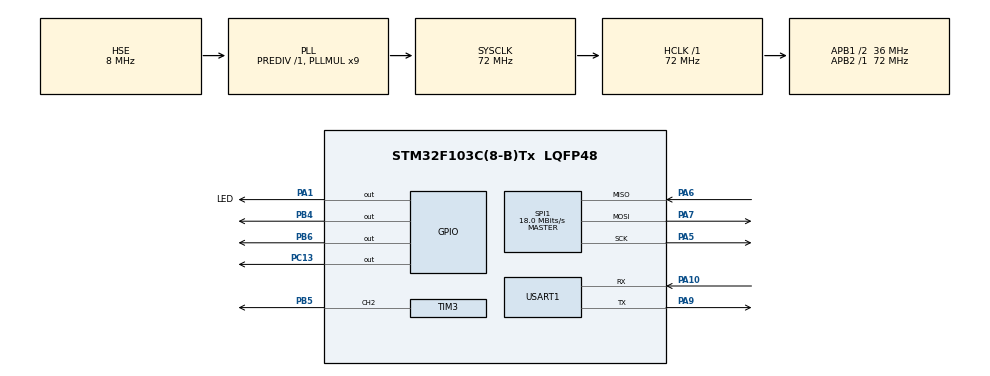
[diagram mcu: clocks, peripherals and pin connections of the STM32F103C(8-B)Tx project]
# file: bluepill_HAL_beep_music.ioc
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<<<<<<< HEAD:project_01.ioc
Dma.Request0=USART1_RX
Dma.Request1=USART1_TX
Dma.USART1_RX.0.Direction=DMA_PERIPH_TO_MEMORY
Dma.USART1_RX.0.Instance=DMA1_Channel5
Dma.USART1_RX.0.MemDataAlignment=DMA_MDATAALIGN_BYTE
Dma.USART1_RX.0.MemInc=DMA_MINC_ENABLE
Dma.USART1_RX.0.Mode=DMA_CIRCULAR
Dma.USART1_RX.0.PeriphDataAlignment=DMA_PDATAALIGN_BYTE
Dma.USART1_RX.0.PeriphInc=DMA_PINC_DISABLE
Dma.USART1_RX.0.Priority=DMA_PRIORITY_MEDIUM
Dma.USART1_TX.1.Direction=DMA_MEMORY_TO_PERIPH
Dma.USART1_TX.1.Instance=DMA1_Channel4
Dma.USART1_TX.1.MemDataAlignment=DMA_MDATAALIGN_BYTE
Dma.USART1_TX.1.MemInc=DMA_MINC_ENABLE
Dma.USART1_TX.1.Mode=DMA_NORMAL
Dma.USART1_TX.1.PeriphDataAlignment=DMA_PDATAALIGN_BYTE
Dma.USART1_TX.1.PeriphInc=DMA_PINC_DISABLE
Dma.USART1_TX.1.Priority=DMA_PRIORITY_MEDIUM
Mcu.Family=STM32F1
Mcu.Name=STM32F103C(8-B)Tx
Mcu.Package=LQFP48
NVIC.DMA1_Channel4_IRQn=true\:1\:0\:true\:false\:true\:false\:true\:true
NVIC.DMA1_Channel5_IRQn=true\:1\:0\:true\:false\:true\:false\:true\:true
NVIC.PriorityGroup=NVIC_PRIORITYGROUP_4
NVIC.TIM2_IRQn=true\:0\:0\:true\:false\:true\:true\:true\:true
NVIC.TIM3_IRQn=true\:0\:0\:false\:false\:true\:true\:true\:true
NVIC.USART1_IRQn=true\:1\:0\:true\:false\:true\:true\:true\:true
PA1.GPIO_Label=LED
PA1.GPIO_ModeDefaultOutputPP=GPIO_MODE_OUTPUT_PP
PA1.Signal=GPIO_Output
PA10.Mode=Asynchronous
PA10.Signal=USART1_RX
PA13.Mode=Serial_Wire
PA13.Signal=SYS_JTMS-SWDIO
PA14.Mode=Serial_Wire
PA14.Signal=SYS_JTCK-SWCLK
PA5.Mode=Full_Duplex_Master
PA5.Signal=SPI1_SCK
PA6.Mode=Full_Duplex_Master
PA6.Signal=SPI1_MISO
PA7.Mode=Full_Duplex_Master
PA7.Signal=SPI1_MOSI
PA9.Mode=Asynchronous
PA9.Signal=USART1_TX
PB4.GPIO_ModeDefaultOutputPP=GPIO_MODE_OUTPUT_OD
PB4.GPIO_Speed=GPIO_SPEED_FREQ_HIGH
PB4.Signal=GPIO_Output
PB5.GPIO_Speed=GPIO_SPEED_FREQ_HIGH
PB5.Signal=S_TIM3_CH2
PB6.GPIO_ModeDefaultOutputPP=GPIO_MODE_OUTPUT_OD
PB6.GPIO_Speed=GPIO_SPEED_FREQ_HIGH
PB6.Signal=GPIO_Output
PC13-TAMPER-RTC.Signal=GPIO_Output
PC14-OSC32_IN.Mode=LSE-External-Oscillator
PC14-OSC32_IN.Signal=RCC_OSC32_IN
PC15-OSC32_OUT.Mode=LSE-External-Oscillator
PC15-OSC32_OUT.Signal=RCC_OSC32_OUT
PD0-OSC_IN.Mode=HSE-External-Oscillator
PD0-OSC_IN.Signal=RCC_OSC_IN
PD1-OSC_OUT.Mode=HSE-External-Oscillator
PD1-OSC_OUT.Signal=RCC_OSC_OUT
ProjectManager.HeapSize=0x200
ProjectManager.StackSize=0x400
ProjectManager.TargetToolchain=STM32CubeIDE
RCC.AHBFreq_Value=72000000
RCC.APB1CLKDivider=RCC_HCLK_DIV2
RCC.APB1Freq_Value=36000000
RCC.APB1TimFreq_Value=72000000
RCC.APB2Freq_Value=72000000
RCC.APB2TimFreq_Value=72000000
RCC.HCLKFreq_Value=72000000
RCC.PLLMUL=RCC_PLL_MUL9
RCC.PLLSourceVirtual=RCC_PLLSOURCE_HSE
RCC.SYSCLKFreq_VALUE=72000000
RCC.SYSCLKSource=RCC_SYSCLKSOURCE_PLLCLK
RCC.USBFreq_Value=72000000
SH.S_TIM3_CH2.0=TIM3_CH2,PWM Generation2 CH2
SPI1.BaudRatePrescaler=SPI_BAUDRATEPRESCALER_4
SPI1.CalculateBaudRate=18.0 MBits/s
SPI1.Direction=SPI_DIRECTION_2LINES
SPI1.Mode=SPI_MODE_MASTER
SPI1.VirtualType=VM_MASTER
TIM2.Period=10-1
TIM2.Prescaler=7200-1
TIM3.AutoReloadPreload=TIM_AUTORELOAD_PRELOAD_ENABLE
TIM3.Channel-PWM\ Generation2\ CH2=TIM_CHANNEL_2
TIM3.OCPolarity_2=TIM_OCPOLARITY_LOW
TIM3.Period=1000-1
TIM3.Prescaler=72-1
USART1.VirtualMode=VM_ASYNC
VP_TIM2_VS_ClockSourceINT.Mode=Internal
VP_TIM3_VS_ClockSourceINT.Mode=Internal
board=custom
=======
Dma.Request0=USART1_RX
Dma.Request1=USART1_TX
Dma.USART1_RX.0.Direction=DMA_PERIPH_TO_MEMORY
Dma.USART1_RX.0.Instance=DMA1_Channel5
Dma.USART1_RX.0.MemDataAlignment=DMA_MDATAALIGN_BYTE
Dma.USART1_RX.0.MemInc=DMA_MINC_ENABLE
Dma.USART1_RX.0.Mode=DMA_CIRCULAR
Dma.USART1_RX.0.PeriphDataAlignment=DMA_PDATAALIGN_BYTE
Dma.USART1_RX.0.PeriphInc=DMA_PINC_DISABLE
Dma.USART1_RX.0.Priority=DMA_PRIORITY_MEDIUM
Dma.USART1_TX.1.Direction=DMA_MEMORY_TO_PERIPH
Dma.USART1_TX.1.Instance=DMA1_Channel4
Dma.USART1_TX.1.MemDataAlignment=DMA_MDATAALIGN_BYTE
Dma.USART1_TX.1.MemInc=DMA_MINC_ENABLE
Dma.USART1_TX.1.Mode=DMA_NORMAL
Dma.USART1_TX.1.PeriphDataAlignment=DMA_PDATAALIGN_BYTE
Dma.USART1_TX.1.PeriphInc=DMA_PINC_DISABLE
Dma.USART1_TX.1.Priority=DMA_PRIORITY_MEDIUM
Mcu.Family=STM32F1
Mcu.Name=STM32F103C(8-B)Tx
Mcu.Package=LQFP48
NVIC.DMA1_Channel4_IRQn=true\:1\:0\:true\:false\:true\:false\:true
NVIC.DMA1_Channel5_IRQn=true\:1\:0\:true\:false\:true\:false\:true
NVIC.PriorityGroup=NVIC_PRIORITYGROUP_4
NVIC.TIM2_IRQn=true\:0\:0\:true\:false\:true\:true\:true
NVIC.TIM3_IRQn=true\:0\:0\:false\:false\:true\:true\:true
NVIC.USART1_IRQn=true\:1\:0\:true\:false\:true\:true\:true
PA1.GPIO_Label=LED
PA1.GPIO_ModeDefaultOutputPP=GPIO_MODE_OUTPUT_PP
PA1.Signal=GPIO_Output
PA10.Mode=Asynchronous
PA10.Signal=USART1_RX
PA13.Mode=Serial_Wire
PA13.Signal=SYS_JTMS-SWDIO
PA14.Mode=Serial_Wire
PA14.Signal=SYS_JTCK-SWCLK
PA5.Mode=Full_Duplex_Master
PA5.Signal=SPI1_SCK
PA6.Mode=Full_Duplex_Master
PA6.Signal=SPI1_MISO
PA7.Mode=Full_Duplex_Master
PA7.Signal=SPI1_MOSI
PA9.Mode=Asynchronous
PA9.Signal=USART1_TX
PB4.GPIO_ModeDefaultOutputPP=GPIO_MODE_OUTPUT_OD
PB4.GPIO_Speed=GPIO_SPEED_FREQ_HIGH
PB4.Signal=GPIO_Output
PB5.GPIO_Speed=GPIO_SPEED_FREQ_HIGH
PB5.Signal=S_TIM3_CH2
PB6.GPIO_ModeDefaultOutputPP=GPIO_MODE_OUTPUT_OD
PB6.GPIO_Speed=GPIO_SPEED_FREQ_HIGH
PB6.Signal=GPIO_Output
PC13-TAMPER-RTC.Signal=GPIO_Output
PC14-OSC32_IN.Mode=LSE-External-Oscillator
PC14-OSC32_IN.Signal=RCC_OSC32_IN
PC15-OSC32_OUT.Mode=LSE-External-Oscillator
PC15-OSC32_OUT.Signal=RCC_OSC32_OUT
PD0-OSC_IN.Mode=HSE-External-Oscillator
PD0-OSC_IN.Signal=RCC_OSC_IN
PD1-OSC_OUT.Mode=HSE-External-Oscillator
PD1-OSC_OUT.Signal=RCC_OSC_OUT
ProjectManager.HeapSize=0x200
ProjectManager.StackSize=0x400
ProjectManager.TargetToolchain=STM32CubeIDE
RCC.AHBFreq_Value=72000000
RCC.APB1CLKDivider=RCC_HCLK_DIV2
RCC.APB1Freq_Value=36000000
RCC.APB1TimFreq_Value=72000000
RCC.APB2Freq_Value=72000000
RCC.APB2TimFreq_Value=72000000
RCC.HCLKFreq_Value=72000000
RCC.PLLMUL=RCC_PLL_MUL9
RCC.PLLSourceVirtual=RCC_PLLSOURCE_HSE
RCC.SYSCLKFreq_VALUE=72000000
RCC.SYSCLKSource=RCC_SYSCLKSOURCE_PLLCLK
RCC.USBFreq_Value=72000000
SH.S_TIM3_CH2.0=TIM3_CH2,PWM Generation2 CH2
SPI1.BaudRatePrescaler=SPI_BAUDRATEPRESCALER_4
SPI1.CalculateBaudRate=18.0 MBits/s
SPI1.Direction=SPI_DIRECTION_2LINES
SPI1.Mode=SPI_MODE_MASTER
SPI1.VirtualType=VM_MASTER
TIM2.Period=10-1
TIM2.Prescaler=7200-1
TIM3.AutoReloadPreload=TIM_AUTORELOAD_PRELOAD_ENABLE
TIM3.Channel-PWM\ Generation2\ CH2=TIM_CHANNEL_2
TIM3.OCPolarity_2=TIM_OCPOLARITY_LOW
TIM3.Period=1000-1
TIM3.Prescaler=72-1
USART1.VirtualMode=VM_ASYNC
VP_TIM2_VS_ClockSourceINT.Mode=Internal
VP_TIM3_VS_ClockSourceINT.Mode=Internal
board=custom
>>>>>>> f77d6fc94e3148da85bf1c7deab28f33d9c8edf0:bluepill_HAL_beep_music.ioc

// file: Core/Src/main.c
/* USER CODE BEGIN Header */
/**
  ******************************************************************************
  * @file           : main.c
  * @brief          : Main program body
  ******************************************************************************
  * @attention
  *
  * <h2><center>&copy; Copyright (c) 2021 STMicroelectronics.
  * All rights reserved.</center></h2>
  *
  * This software component is licensed by ST under BSD 3-Clause license,
  * the "License"; You may not use this file except in compliance with the
  * License. You may obtain a copy of the License at:
  *                        opensource.org/licenses/BSD-3-Clause
  *
  ******************************************************************************
  */
/* USER CODE END Header */
#include "main.h"
#include "dma.h"
#include "spi.h"
#include "tim.h"
#include "usart.h"
#include "gpio.h"

/* USER CODE BEGIN Includes */
#include "main1ms.h"
#include "main10ms.h"
#include "w25q16.h"

/* USER CODE END Includes */

void SystemClock_Config(void);

/* USER CODE BEGIN 0 */
#define BUFFERSIZE 255//可以接收的最大字符个�???????????????????????????
uint8_t ReceiveBuff[BUFFERSIZE]; //接收缓冲�???????????????????????????
uint8_t Rx_len;//接收完成中断标志，接收到字符长度
extern DMA_HandleTypeDef hdma_usart1_rx;
uint8_t Str1[BUFFERSIZE]={48,53};
uint16_t pulse = 500;

void HAL_UART_TxCpltCallback(UART_HandleTypeDef *huart)
{
	if(huart==&huart1)//判断是否是串�???????????????????????????1中断
        HAL_GPIO_TogglePin(LED_GPIO_Port, LED_Pin);
}

/* USER CODE END 0 */

int main(void)
{

  /* MCU Configuration--------------------------------------------------------*/

  /* Reset of all peripherals, Initializes the Flash interface and the Systick. */
  HAL_Init();

  /* Configure the system clock */
  SystemClock_Config();

  /* Initialize all configured peripherals */
  MX_GPIO_Init();
  MX_DMA_Init();
  MX_USART1_UART_Init();
  MX_TIM2_Init();
  MX_SPI1_Init();
  MX_TIM3_Init();
  /* USER CODE BEGIN 2 */
  HAL_TIM_Base_Start_IT(&htim2);

//  HAL_UART_Receive_IT(&huart1, (uint8_t*)recv_buf, 13);//发出提示信息
//  HAL_UART_Transmit_IT(&huart1, (uint8_t*)hello, sizeof(hello));

//	注意：上方的MX_DMA_Init();和MX_USART1_UART_Init();这两个函数在自动生成代码要要手动调换顺序
	__HAL_UART_ENABLE_IT(&huart1, UART_IT_IDLE);//使能串口1 IDLE中断
	/*第二个参数目前为数组 如果为变量需要加取地*/
	HAL_UART_Receive_DMA(&huart1,ReceiveBuff,BUFFERSIZE);//使能接收
	HAL_TIM_PWM_Start(&htim3,TIM_CHANNEL_2);
//	  HAL_Delay_us_init(72);
//	  HAL_RCC_GetHCLKFreq()/1000000;		// 1us中断一次，即HAL_Delay函数延时基准为1us
	HAL_SYSTICK_Config(HAL_RCC_GetHCLKFreq()/1000);  // 配置并启动系统滴答定时器

  /* USER CODE END 2 */

  /* Infinite loop */
  while (1)
  {

    /* USER CODE BEGIN 3 */
//	    HAL_Delay(1000);
//	    HAL_GPIO_TogglePin(GPIOA, GPIO_PIN_1);

//		HAL_UART_Transmit_DMA(&huart1,Str1,4);
		main10ms();
		main1ms();
  }
  /* USER CODE END 3 */
}

void SystemClock_Config(void)
{
  RCC_OscInitTypeDef RCC_OscInitStruct = {0};
  RCC_ClkInitTypeDef RCC_ClkInitStruct = {0};

  /** Initializes the RCC Oscillators according to the specified parameters
  * in the RCC_OscInitTypeDef structure.
  */
  RCC_OscInitStruct.OscillatorType = RCC_OSCILLATORTYPE_HSE;
  RCC_OscInitStruct.HSEState = RCC_HSE_ON;
  RCC_OscInitStruct.HSEPredivValue = RCC_HSE_PREDIV_DIV1;
  RCC_OscInitStruct.HSIState = RCC_HSI_ON;
  RCC_OscInitStruct.PLL.PLLState = RCC_PLL_ON;
  RCC_OscInitStruct.PLL.PLLSource = RCC_PLLSOURCE_HSE;
  RCC_OscInitStruct.PLL.PLLMUL = RCC_PLL_MUL9;
  if (HAL_RCC_OscConfig(&RCC_OscInitStruct) != HAL_OK)
  {
    Error_Handler();
  }
  /** Initializes the CPU, AHB and APB buses clocks
  */
  RCC_ClkInitStruct.ClockType = RCC_CLOCKTYPE_HCLK|RCC_CLOCKTYPE_SYSCLK
                              |RCC_CLOCKTYPE_PCLK1|RCC_CLOCKTYPE_PCLK2;
  RCC_ClkInitStruct.SYSCLKSource = RCC_SYSCLKSOURCE_PLLCLK;
  RCC_ClkInitStruct.AHBCLKDivider = RCC_SYSCLK_DIV1;
  RCC_ClkInitStruct.APB1CLKDivider = RCC_HCLK_DIV2;
  RCC_ClkInitStruct.APB2CLKDivider = RCC_HCLK_DIV1;

  if (HAL_RCC_ClockConfig(&RCC_ClkInitStruct, FLASH_LATENCY_2) != HAL_OK)
  {
    Error_Handler();
  }
}

void Error_Handler(void)
{
  __disable_irq();
  while (1)
  {
  }
}

/************************ (C) COPYRIGHT STMicroelectronics *****END OF FILE****/
